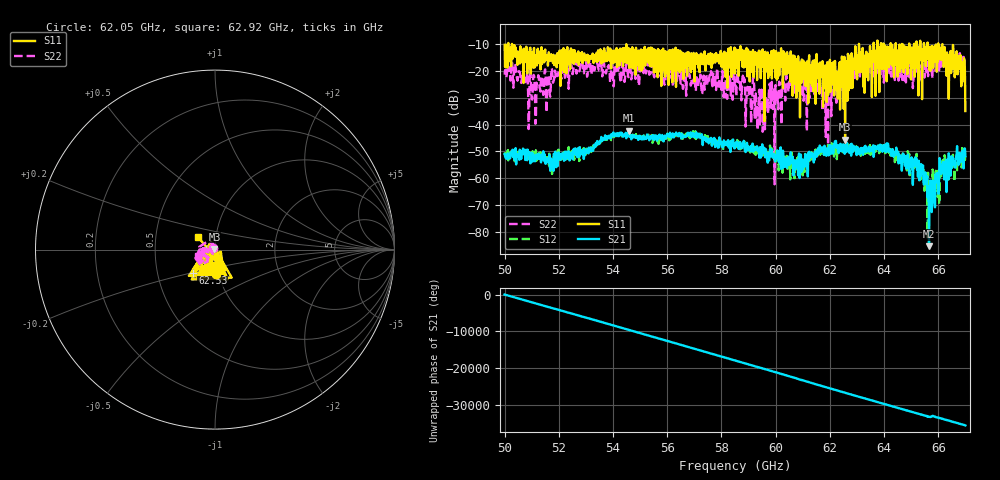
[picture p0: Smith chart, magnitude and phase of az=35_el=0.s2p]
!Created with skrf (http://scikit-rf.org).
# GHz S RI R 50.0
!freq ReS11 ImS11 ReS21 ImS21 ReS12 ImS12 ReS22 ImS22
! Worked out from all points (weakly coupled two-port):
!   1001 points, 50 GHz to 67 GHz, reference 50 ohm
!   highest |S21| = -42.33 dB at 54.57 GHz (marker M1); lowest = -85.2 dB at 65.66 GHz (marker M2)
!   lowest |S11| = -45.7 dB at 62.56 GHz (marker M3), VSWR 1.01, Z = 49.7 + j0.392 ohm
!   |S11| at or under -10 dB: 50.14 GHz to 63.62 GHz (13.48 GHz wide, 23.7 % of centre); 64.43 GHz to 64.93 GHz (492.2 MHz wide, 0.761 % of centre); 66 GHz to end of sweep (the widest 3 of 15)
!   |S22| runs from -62.2 to -13.5 dB; largest |S21 - S12| = 0.0027
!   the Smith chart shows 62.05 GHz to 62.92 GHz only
!   S11 on the Smith chart (normalised r, x): 62.05 GHz: 0.97, -0.27; 62.53 GHz: 0.75, -0.21; 62.92 GHz: 0.82, +0.12
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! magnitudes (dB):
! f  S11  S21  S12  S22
! 50 GHz  -10.4  -51.0  -50.4  -21.5
! 50.46 GHz  -14.4  -51.8  -52.0  -23.1
! 51.07 GHz  -12.5  -53.6  -53.4  -21.6
! 52.84 GHz  -14.4  -50.0  -49.6  -17.7
! 54.57 GHz  -11.5  -42.3  -42.8  -22.4
! 55.68 GHz  -13.7  -44.9  -47.2  -22.1
! 58.5 GHz  -21.0  -47.1  -47.7  -26.2
! 59.61 GHz  -13.1  -49.8  -50.0  -41.8
! 60.34 GHz  -13.6  -53.2  -54.9  -26.0
! 61.34 GHz  -25.6  -50.7  -50.8  -24.6
! 61.88 GHz  -31.7  -49.2  -50.4  -22.6
! 62.05 GHz  -17.2  -49.7  -49.2  -36.9
! 62.53 GHz  -14.8  -49.3  -46.9  -18.6
! 62.56 GHz  -45.7  -47.7  -49.5  -19.3
! 62.92 GHz  -18.4  -48.4  -48.9  -20.0
! 64.18 GHz  -18.7  -50.0  -50.5  -17.8
! 65.2 GHz  -9.1  -53.0  -50.9  -19.7
! 65.66 GHz  -11.7  -85.2  -70.3  -16.8
! 66.2 GHz  -18.6  -54.1  -53.0  -15.1
! 66.75 GHz  -19.5  -55.0  -52.0  -19.1
! 66.9 GHz  -16.8  -49.7  -52.1  -15.2
! 67 GHz  -35.0  -51.7  -51.9  -16.4
